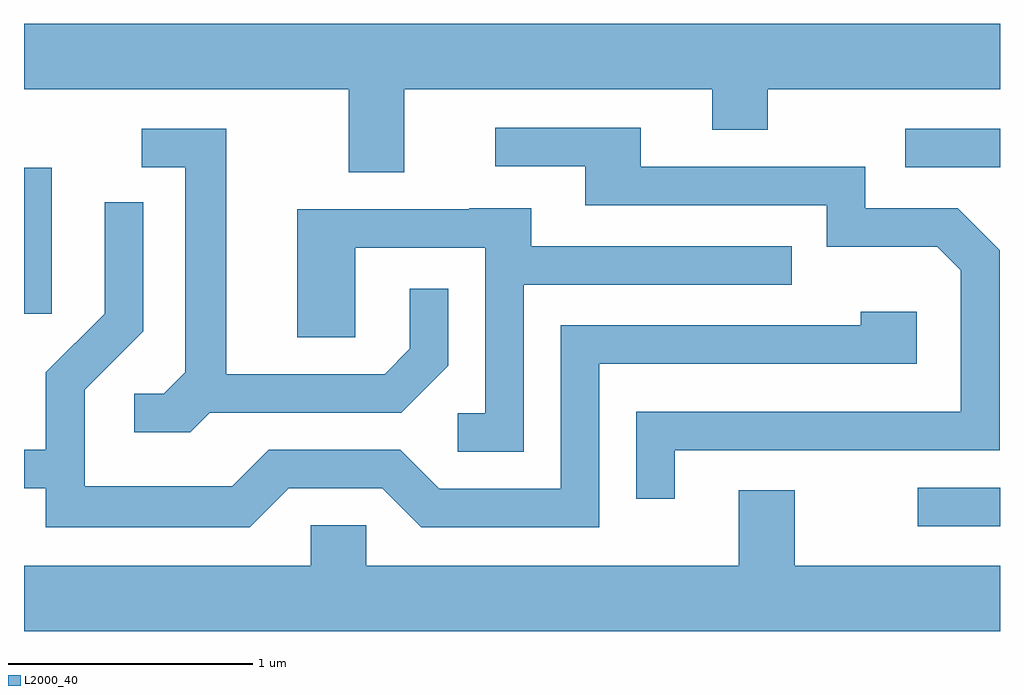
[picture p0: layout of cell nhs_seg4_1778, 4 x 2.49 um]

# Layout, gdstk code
import gdstk
lib = gdstk.Library(unit=1e-6, precision=1e-09)
def R(c, l, rs):  # rectangles x0, y0, x1, y1
    for r in rs: c.add(gdstk.rectangle(r[:2], r[2:], *l))
def P(c, l, *ps):  # polygons
    for p in ps: c.add(gdstk.Polygon(p, *l))
L2000_40 = (2000, 40)

nhs_seg4_1778 = lib.new_cell('nhs_seg4_1778')
R(nhs_seg4_1778, L2000_40, [(241.273,1275.186,241.611,1275.344), (237.611,1276.056,237.724,1276.654), (241.223,1276.656,241.611,1276.814)])
P(nhs_seg4_1778, L2000_40, [(239.169,1276.976),(240.431,1276.976),(240.431,1276.811),(240.659,1276.811),(240.659,1276.976),(241.611,1276.976),(241.611,1277.244),(237.611,1277.244),(237.611,1276.976),(238.941,1276.976),(238.941,1276.636),(239.169,1276.636)],
  [(240.279,1275.496),(241.609,1275.496),(241.609,1276.317),(241.437,1276.489),(241.059,1276.489),(241.059,1276.659),(240.139,1276.659),(240.139,1276.819),(239.543,1276.819),(239.543,1276.661),(239.911,1276.661),(239.911,1276.501),(240.901,1276.501),(240.901,1276.331),(241.354,1276.331),(241.451,1276.234),(241.451,1275.654),(240.121,1275.654),(240.121,1275.298),(240.279,1275.298)],
  [(238.372,1275.651),(239.157,1275.651),(239.349,1275.844),(239.349,1276.158),(239.191,1276.158),(239.191,1275.912),(239.089,1275.809),(238.439,1275.809),(238.439,1276.814),(238.093,1276.814),(238.093,1276.656),(238.271,1276.656),(238.271,1275.817),(238.184,1275.729),(238.063,1275.729),(238.063,1275.571),(238.292,1275.571)],
  [(238.697,1275.341),(239.079,1275.341),(239.239,1275.181),(239.969,1275.181),(239.969,1275.851),(241.269,1275.851),(241.269,1276.064),(241.041,1276.064),(241.041,1276.009),(239.811,1276.009),(239.811,1275.339),(239.312,1275.339),(239.152,1275.499),(238.614,1275.499),(238.464,1275.349),(237.859,1275.349),(237.859,1275.744),(238.099,1275.984),(238.099,1276.513),(237.941,1276.513),(237.941,1276.057),(237.701,1275.817),(237.701,1275.499),(237.611,1275.499),(237.611,1275.341),(237.701,1275.341),(237.701,1275.181),(238.537,1275.181)],
  [(239.659,1276.176),(240.758,1276.176),(240.758,1276.334),(239.689,1276.334),(239.689,1276.489),(239.435,1276.489),(239.435,1276.484),(238.731,1276.484),(238.731,1275.961),(238.969,1275.961),(238.969,1276.326),(239.501,1276.326),(239.501,1275.649),(239.388,1275.649),(239.388,1275.491),(239.659,1275.491)],
  [(241.611,1275.024),(240.769,1275.024),(240.769,1275.334),(240.541,1275.334),(240.541,1275.024),(239.014,1275.024),(239.014,1275.189),(238.786,1275.189),(238.786,1275.024),(237.611,1275.024),(237.611,1274.756),(241.611,1274.756)])

lib.write_gds('nhs_seg4_1778.gds')
